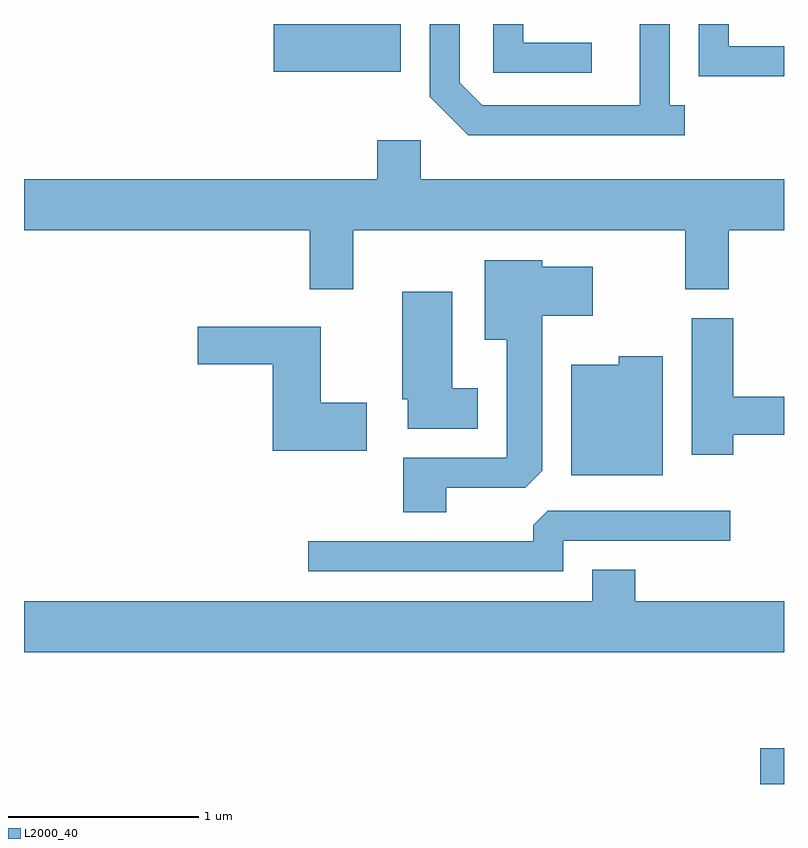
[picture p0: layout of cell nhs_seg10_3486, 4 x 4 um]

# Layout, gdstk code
import gdstk
lib = gdstk.Library(unit=1e-6, precision=1e-09)
def R(c, l, rs):  # rectangles x0, y0, x1, y1
    for r in rs: c.add(gdstk.rectangle(r[:2], r[2:], *l))
def P(c, l, *ps):  # polygons
    for p in ps: c.add(gdstk.Polygon(p, *l))
L2000_40 = (2000, 40)

nhs_seg10_3486 = lib.new_cell('nhs_seg10_3486')
R(nhs_seg10_3486, L2000_40, [(291.486,2146.522,291.611,2146.709), (288.926,2150.271,289.594,2150.522)])
P(nhs_seg10_3486, L2000_40, [(290.598,2150.424),(290.239,2150.424),(290.239,2150.522),(290.081,2150.522),(290.081,2150.266),(290.598,2150.266)],
  [(291.088,2150.094),(291.009,2150.094),(291.009,2150.522),(290.851,2150.522),(290.851,2150.094),(290.022,2150.094),(289.904,2150.212),(289.904,2150.522),(289.746,2150.522),(289.746,2150.139),(289.949,2149.936),(291.088,2149.936)],
  [(291.611,2150.404),(291.319,2150.404),(291.319,2150.522),(291.161,2150.522),(291.161,2150.246),(291.611,2150.246)],
  [(289.344,2149.436),(291.091,2149.436),(291.091,2149.126),(291.319,2149.126),(291.319,2149.436),(291.611,2149.436),(291.611,2149.704),(289.699,2149.704),(289.699,2149.909),(289.471,2149.909),(289.471,2149.704),(287.611,2149.704),(287.611,2149.436),(289.116,2149.436),(289.116,2149.126),(289.344,2149.126)],
  [(289.834,2148.081),(290.249,2148.081),(290.339,2148.172),(290.339,2148.986),(290.604,2148.986),(290.604,2149.244),(290.339,2149.244),(290.339,2149.279),(290.036,2149.279),(290.036,2148.861),(290.151,2148.861),(290.151,2148.239),(289.606,2148.239),(289.606,2147.951),(289.834,2147.951)],
  [(289.999,2148.604),(289.864,2148.604),(289.864,2149.114),(289.601,2149.114),(289.601,2148.546),(289.631,2148.546),(289.631,2148.391),(289.999,2148.391)],
  [(291.344,2148.361),(291.611,2148.361),(291.611,2148.559),(291.344,2148.559),(291.344,2148.974),(291.126,2148.974),(291.126,2148.256),(291.344,2148.256)],
  [(289.414,2148.529),(289.174,2148.529),(289.174,2148.929),(288.526,2148.929),(288.526,2148.731),(288.921,2148.731),(288.921,2148.276),(289.414,2148.276)],
  [(290.974,2148.774),(290.741,2148.774),(290.741,2148.729),(290.491,2148.729),(290.491,2148.146),(290.974,2148.146)],
  [(290.449,2147.801),(291.328,2147.801),(291.328,2147.959),(290.367,2147.959),(290.291,2147.884),(290.291,2147.799),(289.108,2147.799),(289.108,2147.641),(290.449,2147.641)],
  [(291.611,2147.484),(290.829,2147.484),(290.829,2147.649),(290.601,2147.649),(290.601,2147.484),(287.611,2147.484),(287.611,2147.216),(291.611,2147.216)])

lib.write_gds('nhs_seg10_3486.gds')
